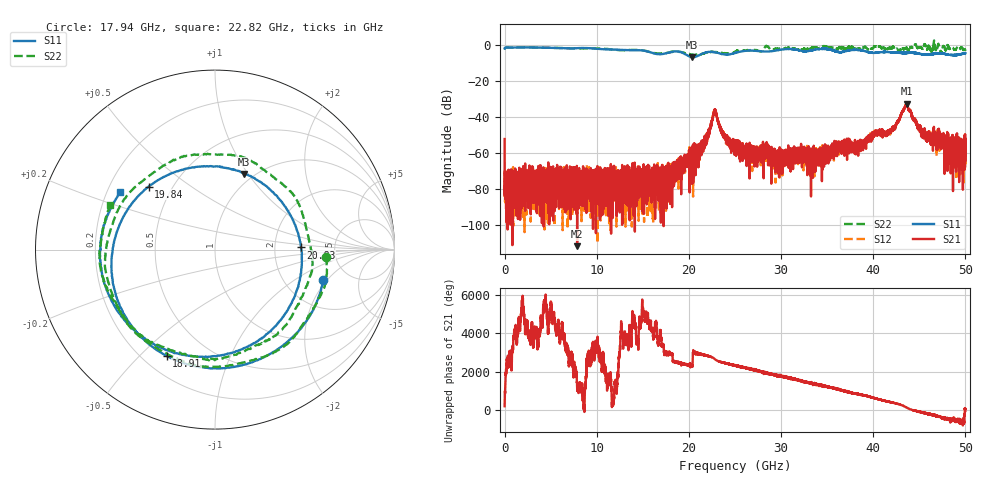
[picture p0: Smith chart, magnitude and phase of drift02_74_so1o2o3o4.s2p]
!Created with skrf (http://scikit-rf.org).
# Hz S RI R 50.0
!freq ReS11 ImS11 ReS21 ImS21 ReS12 ImS12 ReS22 ImS22
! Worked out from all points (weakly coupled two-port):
!   10001 points, 300 kHz to 50 GHz, reference 50 ohm
!   highest |S21| = -32.75 dB at 43.62 GHz (marker M1); lowest = -111.9 dB at 7.87 GHz (marker M2)
!   lowest |S11| = -6.9 dB at 20.33 GHz (marker M3), VSWR 2.65, Z = 45.2 + j47.9 ohm
!   |S11| at or under -10 dB: nowhere
!   |S22| runs from -5.7 to 2.5 dB; largest |S21 - S12| = 0.0033
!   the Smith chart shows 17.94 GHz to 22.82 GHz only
!   S11 on the Smith chart (normalised r, x): 17.94 GHz: 3.28, -1.82; 18.91 GHz: 0.29, -0.60; 19.84 GHz: 0.37, +0.35; 20.83 GHz: 2.83, +0.09; 22.82 GHz: 0.25, +0.26
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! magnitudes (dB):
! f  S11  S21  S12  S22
! 300 kHz  -2.0  -52.3  -78.5  -2.1
! 265.3 MHz  -1.4  -92.5  -91.7  -1.4
! 7.87 GHz  -1.8  -111.9  -76.3  -1.9
! 8.335 GHz  -1.7  -81.2  -72.9  -1.9
! 16.67 GHz  -5.2  -68.2  -75.5  -4.7
! 17.94 GHz  -4.1  -73.6  -73.1  -4.2
! 18.91 GHz  -3.7  -64.9  -65.8  -3.9
! 19.84 GHz  -5.9  -63.4  -63.5  -5.0
! 20.33 GHz  -6.9  -70.9  -65.6  -5.5
! 20.83 GHz  -6.4  -57.4  -65.0  -5.5
! 21.8 GHz  -4.3  -54.6  -55.4  -4.4
! 22.82 GHz  -4.2  -35.9  -35.8  -3.9
! 23.7 GHz  -5.2  -48.3  -49.2  -4.6
! 25 GHz  -4.5  -53.7  -56.0  -3.9
! 29.59 GHz  -3.0  -61.4  -62.6  -2.2
! 33.34 GHz  -3.0  -57.9  -60.5  -1.6
! 38.12 GHz  -2.7  -57.8  -57.3  -2.3
! 41.67 GHz  -4.0  -47.7  -48.7  -1.9
! 43.62 GHz  -4.5  -32.8  -33.3  -1.6
! 45.64 GHz  -5.4  -49.5  -49.0  -0.1
! 48.59 GHz  -5.5  -52.9  -59.2  -1.5
! 50 GHz  -4.6  -64.0  -54.2  -2.7
